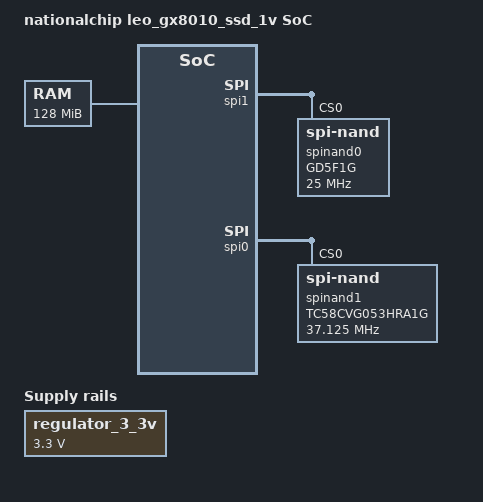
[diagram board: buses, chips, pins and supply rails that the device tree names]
/*
 *  Copyright (C) 2013 Steffen Trumtrar <s.trumtrar@pengutronix.de>
 *
 * This program is free software; you can redistribute it and/or modify
 * it under the terms of the GNU General Public License as published by
 * the Free Software Foundation; either version 2 of the License, or
 * (at your option) any later version.
 *
 * This program is distributed in the hope that it will be useful,
 * but WITHOUT ANY WARRANTY; without even the implied warranty of
 * MERCHANTABILITY or FITNESS FOR A PARTICULAR PURPOSE.  See the
 * GNU General Public License for more details.
 *
 * You should have received a copy of the GNU General Public License
 * along with this program.  If not, see <http://www.gnu.org/licenses/>.
 */

/dts-v1/;
/* First 4KB has trampoline code for secondary cores. */
/* /memreserve/ 0x00000000 0x0001000; */

#include "leo.dtsi"

/ {
	model = "nationalchip leo_gx8010_ssd_1v SoC";
	compatible = "nationalchip,leo_fpga_1v", "nationalchip,leo";

	chosen {
		bootargs = "earlyprintk";
		stdout-path = "serial0:115200n8";
	};

	memory {
		name = "memory";
		device_type = "memory";
		reg = <0x10000000 0x8000000>;
	};

	aliases {
		/* this allow the ethaddr uboot environmnet variable contents
		 * to be added to the gmac1 device tree blob.
		 */
	};

	regulator_3_3v: vcc3p3-regulator {
		compatible = "regulator-fixed";
		regulator-name = "VCC3P3";
		regulator-min-microvolt = <3300000>;
		regulator-max-microvolt = <3300000>;
	};

	a7_key:a7_key@0x2305008{
		compatible = "nationalchip,LEO-keypad";
		reg = <0x230501c 0x90>;
		autorepeat;

		key1:key1{
			key_code  = <KEY_VOLUMEUP>;
			key_gpio = <0>;
		};
	};

	csky_key:csky_key@0x305004{
		compatible = "nationalchip,LEO-keypad";
		reg = <0x30501c 0x90>;
		autorepeat;

        key5:key2{
			key_code  = <KEY_VOLUMEDOWN>;
			key_gpio = <12>;
		};
        key6:key3{
			key_code  = <KEY_MUTE>;
			key_gpio = <13>;
		};
        key7:key4{
			key_code  = <KEY_HOME>;
			key_gpio = <14>;
		};
	};
};

&spi1{
	status = "okay";
	spinand0: GD5F1G@0 {
		compatible        = "spi-nand";
		spi-max-frequency = <25000000>;
		cs-reg            = <0x30a168>;
		dma-reg           = <0x800000>;
		reg               = <0>;
		status            = "okay";
	};
};

&spi0{
	status = "okay";
	spinand1: TC58CVG053HRA1G@0 {
		compatible        = "spi-nand";
		spi-max-frequency = <37125000>;  // A7 总线频率14850000/37125000 = 4; 实际频率CK总线频率99M/4 = 25M
		cs-reg            = <0x30a168>;
		dma-reg           = <0x800000>;
		reg               = <0>;
		status            = "okay";
	};
};
